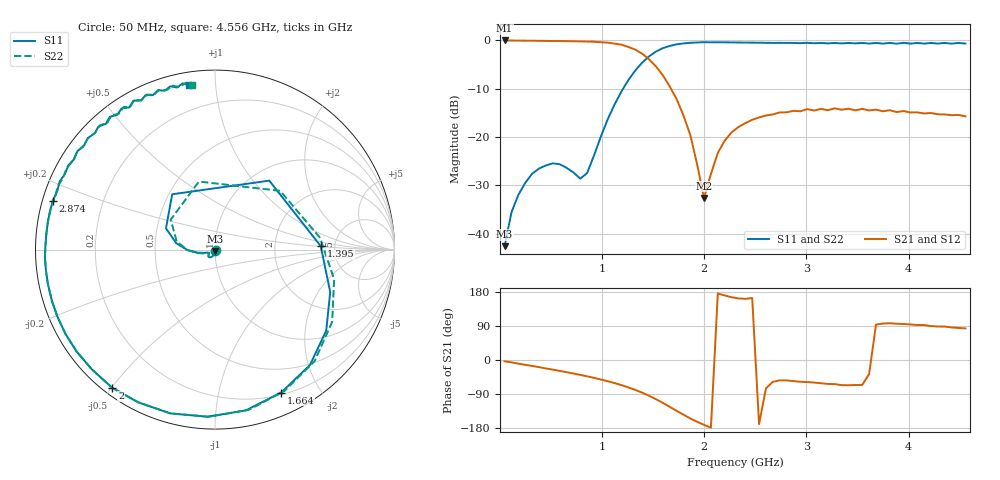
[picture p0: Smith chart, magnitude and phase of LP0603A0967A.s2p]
!	AVX THIN FILM OPERATION
!	LP0603 LOW PASS FILTERS
!	P/N LP0603A0967ALTR
!	Network	Analyzer	HP8720ES.07.64:	Feb	"23,"	2000	Serial	No.	US39172382
!	Hewlett-Packard
!	2	Feb	2004	02:33:11
!	Frequency	S11	S21	S12	S22
#	HZ	S	DB	R	50
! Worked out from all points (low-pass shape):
!   68 points, 50 MHz to 4.556 GHz, reference 50 ohm
!   highest |S21| = 0.00 dB at 50 MHz (marker M1); lowest = -32.6 dB at 2 GHz (marker M2)
!   |S21| within 3 dB of the highest: start of sweep to 1.41 GHz
!   lowest |S11| = -42.6 dB at 50 MHz (marker M3), VSWR 1.02, Z = 50 - j0.744 ohm
!   |S11| at or under -10 dB: start of sweep to 1.208 GHz
!   |S22| runs from -42.6 to -0.4 dB; largest |S21 - S12| = 0.056
!   S11 on the Smith chart (normalised r, x): 50 MHz: 1.00, -0.01; 1.395 GHz: 3.86, +0.23; 1.664 GHz: 0.22, -1.54; 2 GHz: 0.03, -0.50; 2.874 GHz: 0.03, +0.15; 4.556 GHz: 0.06, +0.85
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5e7  -42.56 -87.9  0.00 -3.5  0.00 -3.2  -42.56 -18.7
1.1725e8  -35.55 -95.0  -0.02 -6.2  -0.02 -6.4  -35.55 -98.9
3.19e8  -27.58 -112.4  -0.06 -15.7  -0.06 -15.8  -27.58 -114.1
8.57e8  -27.42 -156.9  -0.22 -43.1  -0.22 -43.3  -27.42 -154.0
1.126e9  -13.22 170.7  -0.66 -61.0  -0.66 -61.0  -13.22 167.9
1.2605e9  -8.19 127.7  -1.34 -72.3  -1.34 -72.2  -8.19 103.3
1.32775e9  -6.21 51.8  -1.89 -78.9  -1.89 -79.0  -6.21 42.0
1.395e9  -4.59 1.9  -2.75 -86.2  -2.75 -86.2  -4.59 6.4
1.59675e9  -1.59 -50.6  -7.19 -113.1  -7.19 -112.9  -1.59 -48.1
1.664e9  -1.14 -65.1  -9.50 -123.5  -9.50 -124.2  -1.14 -63.8
1.86575e9  -0.48 -105.3  -19.55 -154.3  -19.55 -154.9  -0.48 -105.3
2.00025e9  -0.36 -126.5  -32.60 -171.2  -32.60 -173.3  -0.36 -126.8
2.13475e9  -0.38 -143.6  -23.27 175.3  -23.27 174.7  -0.38 -143.8
2.3365e9  -0.42 -162.6  -17.91 162.6  -17.91 160.4  -0.42 -162.7
2.53825e9  -0.46 -177.3  -15.93 -169.4  -15.93 -171.3  -0.46 -177.6
2.8745e9  -0.50 163.2  -14.56 -55.7  -14.56 -58.6  -0.50 164.8
3.07625e9  -0.57 153.3  -14.50 -59.5  -14.50 -54.4  -0.57 154.7
3.547e9  -0.50 133.5  -14.15 -65.8  -14.15 -70.6  -0.50 132.9
3.61425e9  -0.65 131.0  -14.48 -37.1  -14.48 -20.0  -0.65 130.2
3.6815e9  -0.50 128.3  -14.32 93.3  -14.32 90.7  -0.50 127.7
3.816e9  -0.50 123.5  -14.43 97.0  -14.43 98.3  -0.50 122.6
4.55575e9  -0.64 99.0  -15.70 83.4  -15.70 78.5  -0.64 98.0
